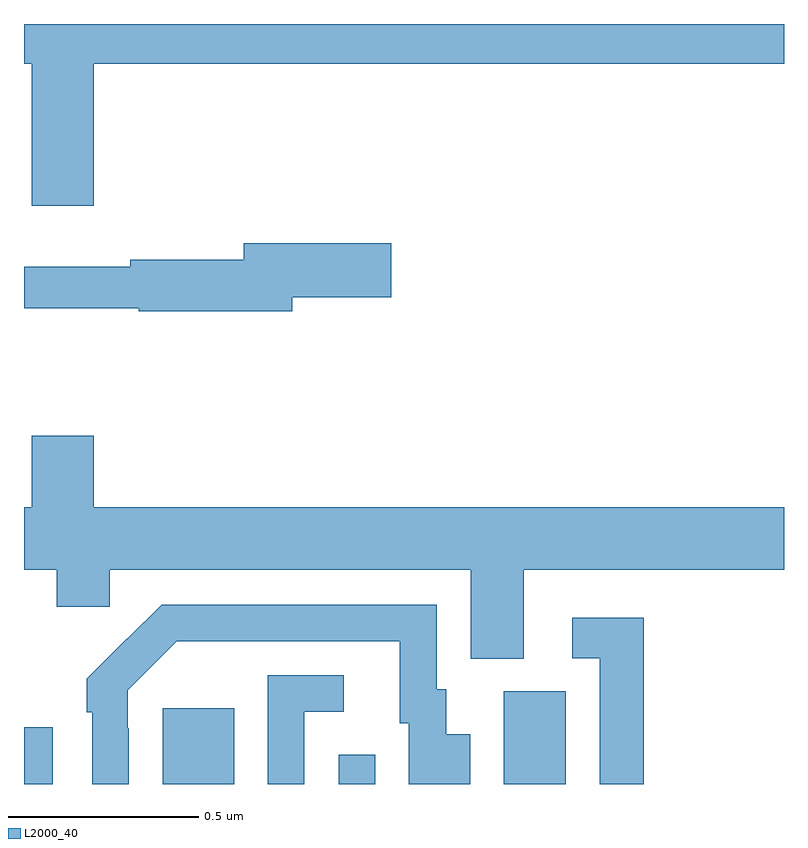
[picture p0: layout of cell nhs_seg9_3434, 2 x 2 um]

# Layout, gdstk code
import gdstk
lib = gdstk.Library(unit=1e-6, precision=1e-09)
def R(c, l, rs):  # rectangles x0, y0, x1, y1
    for r in rs: c.add(gdstk.rectangle(r[:2], r[2:], *l))
def P(c, l, *ps):  # polygons
    for p in ps: c.add(gdstk.Polygon(p, *l))
L2000_40 = (2000, 40)

nhs_seg9_3434 = lib.new_cell('nhs_seg9_3434')
R(nhs_seg9_3434, L2000_40, [(153,1218.5,153.075,1218.649), (153.365,1218.5,153.553,1218.7), (153.828,1218.5,153.924,1218.577), (154.262,1218.5,154.426,1218.744)])
P(nhs_seg9_3434, L2000_40, [(153.184,1220.396),(155,1220.396),(155,1220.5),(153,1220.5),(153,1220.396),(153.02,1220.396),(153.02,1220.022),(153.184,1220.022)],
  [(153.706,1219.781),(153.967,1219.781),(153.967,1219.923),(153.578,1219.923),(153.578,1219.88),(153.28,1219.88),(153.28,1219.861),(153,1219.861),(153,1219.752),(153.302,1219.752),(153.302,1219.744),(153.706,1219.744)],
  [(154.315,1219.064),(155,1219.064),(155,1219.228),(153.184,1219.228),(153.184,1219.417),(153.02,1219.417),(153.02,1219.228),(153,1219.228),(153,1219.064),(153.086,1219.064),(153.086,1218.966),(153.225,1218.966),(153.225,1219.064),(154.175,1219.064),(154.175,1218.829),(154.315,1218.829)],
  [(153.276,1218.647),(153.273,1218.647),(153.273,1218.747),(153.402,1218.876),(153.989,1218.876),(153.989,1218.66),(154.013,1218.66),(154.013,1218.5),(154.174,1218.5),(154.174,1218.631),(154.111,1218.631),(154.111,1218.75),(154.086,1218.75),(154.086,1218.972),(153.362,1218.972),(153.271,1218.881),(153.27,1218.882),(153.165,1218.777),(153.165,1218.689),(153.18,1218.689),(153.18,1218.5),(153.276,1218.5)],
  [(154.631,1218.937),(154.443,1218.937),(154.443,1218.831),(154.515,1218.831),(154.515,1218.5),(154.631,1218.5)],
  [(153.738,1218.69),(153.841,1218.69),(153.841,1218.786),(153.642,1218.786),(153.642,1218.5),(153.738,1218.5)])

lib.write_gds('nhs_seg9_3434.gds')
